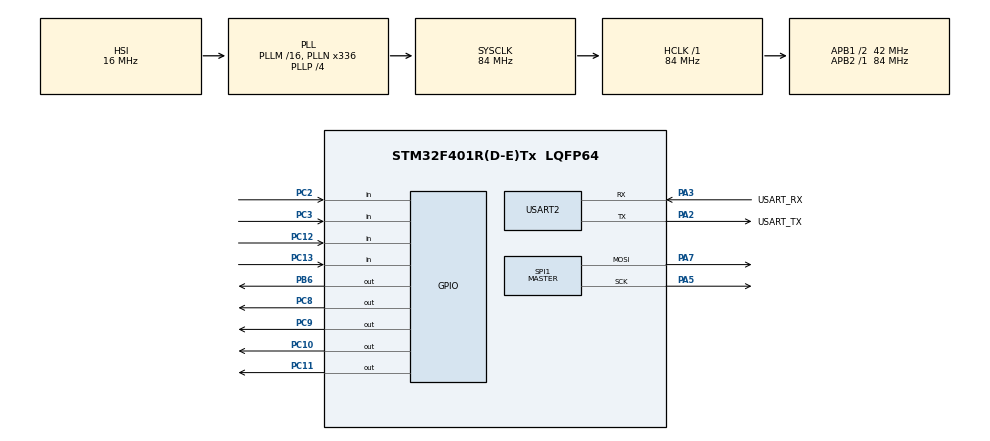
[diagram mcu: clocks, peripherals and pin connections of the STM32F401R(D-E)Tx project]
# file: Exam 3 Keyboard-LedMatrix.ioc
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Dma.Request0=SPI1_TX
Dma.SPI1_TX.0.Direction=DMA_MEMORY_TO_PERIPH
Dma.SPI1_TX.0.FIFOMode=DMA_FIFOMODE_DISABLE
Dma.SPI1_TX.0.Instance=DMA2_Stream3
Dma.SPI1_TX.0.MemDataAlignment=DMA_MDATAALIGN_BYTE
Dma.SPI1_TX.0.MemInc=DMA_MINC_ENABLE
Dma.SPI1_TX.0.Mode=DMA_NORMAL
Dma.SPI1_TX.0.PeriphDataAlignment=DMA_PDATAALIGN_BYTE
Dma.SPI1_TX.0.PeriphInc=DMA_PINC_DISABLE
Dma.SPI1_TX.0.Priority=DMA_PRIORITY_LOW
Mcu.Family=STM32F4
Mcu.Name=STM32F401R(D-E)Tx
Mcu.Package=LQFP64
NVIC.DMA2_Stream3_IRQn=true\:0\:0\:false\:false\:true\:false\:true\:true
NVIC.PriorityGroup=NVIC_PRIORITYGROUP_0
NVIC.SPI1_IRQn=true\:0\:0\:false\:false\:true\:true\:true\:true
NVIC.TIM3_IRQn=true\:0\:0\:false\:false\:true\:true\:true\:true
NVIC.USART2_IRQn=true\:0\:0\:false\:false\:true\:true\:true\:true
PA13.GPIO_Label=TMS
PA13.Mode=Serial_Wire
PA13.Signal=SYS_JTMS-SWDIO
PA14.GPIO_Label=TCK
PA14.Mode=Serial_Wire
PA14.Signal=SYS_JTCK-SWCLK
PA2.GPIO_Label=USART_TX
PA2.GPIO_Mode=GPIO_MODE_AF_PP
PA2.GPIO_PuPd=GPIO_NOPULL
PA2.GPIO_Speed=GPIO_SPEED_FREQ_LOW
PA2.Mode=Asynchronous
PA2.Signal=USART2_TX
PA3.GPIO_Label=USART_RX
PA3.GPIO_Mode=GPIO_MODE_AF_PP
PA3.GPIO_PuPd=GPIO_NOPULL
PA3.GPIO_Speed=GPIO_SPEED_FREQ_LOW
PA3.Mode=Asynchronous
PA3.Signal=USART2_RX
PA5.Mode=TX_Only_Simplex_Unidirect_Master
PA5.Signal=SPI1_SCK
PA7.Mode=TX_Only_Simplex_Unidirect_Master
PA7.Signal=SPI1_MOSI
PB3.GPIO_Label=SWO
PB3.Signal=SYS_JTDO-SWO
PB6.Signal=GPIO_Output
PC10.Signal=GPIO_Output
PC11.Signal=GPIO_Output
PC12.Signal=GPIO_Input
PC13-ANTI_TAMP.Signal=GPIO_Input
PC14-OSC32_IN.Mode=LSE-External-Oscillator
PC14-OSC32_IN.Signal=RCC_OSC32_IN
PC15-OSC32_OUT.Mode=LSE-External-Oscillator
PC15-OSC32_OUT.Signal=RCC_OSC32_OUT
PC2.Signal=GPIO_Input
PC3.Signal=GPIO_Input
PC8.Signal=GPIO_Output
PC9.Signal=GPIO_Output
PH0\ -\ OSC_IN.Mode=HSE-External-Clock-Source
PH0\ -\ OSC_IN.Signal=RCC_OSC_IN
PH1\ -\ OSC_OUT.Mode=HSE-External-Clock-Source
PH1\ -\ OSC_OUT.Signal=RCC_OSC_OUT
ProjectManager.HeapSize=0x200
ProjectManager.StackSize=0x400
ProjectManager.TargetToolchain=STM32CubeIDE
RCC.48MHZClocksFreq_Value=48000000
RCC.AHBFreq_Value=84000000
RCC.APB1CLKDivider=RCC_HCLK_DIV2
RCC.APB1Freq_Value=42000000
RCC.APB1TimFreq_Value=84000000
RCC.APB2Freq_Value=84000000
RCC.APB2TimFreq_Value=84000000
RCC.CortexFreq_Value=84000000
RCC.HCLKFreq_Value=84000000
RCC.HSE_VALUE=8000000
RCC.HSI_VALUE=16000000
RCC.PLLN=336
RCC.PLLP=RCC_PLLP_DIV4
RCC.PLLQ=7
RCC.SYSCLKFreq_VALUE=84000000
RCC.SYSCLKSource=RCC_SYSCLKSOURCE_PLLCLK
RCC.VCOOutputFreq_Value=336000000
SPI1.BaudRatePrescaler=SPI_BAUDRATEPRESCALER_4
SPI1.Direction=SPI_DIRECTION_2LINES
SPI1.Mode=SPI_MODE_MASTER
SPI1.VirtualType=VM_MASTER
TIM3.Period=40-1
TIM3.Prescaler=8400-1
USART2.VirtualMode=VM_ASYNC
VP_TIM3_VS_ClockSourceINT.Mode=Internal
board=NUCLEO-F401RE

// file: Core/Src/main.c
/* USER CODE BEGIN Header */
/**
  ******************************************************************************
  * @file           : main.c
  * @brief          : Main program body
  ******************************************************************************
  * @attention
  *
  * Copyright (c) 2024 STMicroelectronics.
  * All rights reserved.
  *
  * This software is licensed under terms that can be found in the LICENSE file
  * in the root directory of this software component.
  * If no LICENSE file comes with this software, it is provided AS-IS.
  *
  ******************************************************************************
  */
/* USER CODE END Header */
#include "main.h"

/* USER CODE BEGIN Includes */
#include <math.h>
/* USER CODE END Includes */

/* USER CODE BEGIN PD */
char aux_str[1024];
#define PRINT(s,...) \
		snprintf(aux_str, 1020, s, ##__VA_ARGS__ ); \
		HAL_UART_Transmit(&huart2, (uint8_t*)aux_str, strlen(aux_str), 100);

#define N_COLS 4
#define N_ROWS 4
#define MAT_PIN GPIOB,GPIO_PIN_6
/* USER CODE END PD */

SPI_HandleTypeDef hspi1;
DMA_HandleTypeDef hdma_spi1_tx;

TIM_HandleTypeDef htim3;

UART_HandleTypeDef huart2;

/* USER CODE BEGIN PV */
//defined pins for output and input in order of correct activation
uint16_t k_input[] = { GPIO_PIN_3, GPIO_PIN_2, GPIO_PIN_13, GPIO_PIN_12 };
uint16_t k_output[] = { GPIO_PIN_8, GPIO_PIN_9, GPIO_PIN_10, GPIO_PIN_11 };
/* USER CODE END PV */

void SystemClock_Config(void);
static void MX_GPIO_Init(void);
static void MX_DMA_Init(void);
static void MX_USART2_UART_Init(void);
static void MX_SPI1_Init(void);
static void MX_TIM3_Init(void);

/* USER CODE BEGIN 0 */
void HAL_TIM_PeriodElapsedCallback(TIM_HandleTypeDef *htim) {
	if (htim == &htim3) {
		static int col = 0; //index for column

		uint8_t leds[2] = {0, pow(2, 4-col)};
		for (int i = 0; i < N_ROWS; i++) {
			int on = !HAL_GPIO_ReadPin(GPIOC, k_input[i]);

			if(on){
				PRINT("Input %d,%d\r\n", i, col);
				leds[0] += pow(2, i);
			}

		}

		HAL_SPI_Transmit_DMA(&hspi1, leds, 2);

		HAL_SPI_Transmit(&hspix, pData, Size, Timeout)
		HAL_SPI_Transmit_DMA(&hspix, pData, Size)
		HAL_GPIO_WritePin(GPIOC, k_output[col], 0);
		col = (col+1) % N_COLS;
		HAL_GPIO_WritePin(GPIOC, k_output[col], 1);
	}
}

void HAL_SPI_TxCpltCallback(SPI_HandleTypeDef* hspi){
	HAL_GPIO_TogglePin(MAT_PIN);
	HAL_GPIO_TogglePin(MAT_PIN);
}
/* USER CODE END 0 */

int main(void)
{

  /* MCU Configuration--------------------------------------------------------*/

  /* Reset of all peripherals, Initializes the Flash interface and the Systick. */
  HAL_Init();

  /* Configure the system clock */
  SystemClock_Config();

  /* Initialize all configured peripherals */
  MX_GPIO_Init();
  MX_DMA_Init();
  MX_USART2_UART_Init();
  MX_SPI1_Init();
  MX_TIM3_Init();
  /* USER CODE BEGIN 2 */
  HAL_TIM_Base_Start_IT(&htim3);
  /* USER CODE END 2 */

  /* Infinite loop */
  while (1)
  {

  }
}

void SystemClock_Config(void)
{
  RCC_OscInitTypeDef RCC_OscInitStruct = {0};
  RCC_ClkInitTypeDef RCC_ClkInitStruct = {0};

  /** Configure the main internal regulator output voltage
  */
  __HAL_RCC_PWR_CLK_ENABLE();
  __HAL_PWR_VOLTAGESCALING_CONFIG(PWR_REGULATOR_VOLTAGE_SCALE2);

  /** Initializes the RCC Oscillators according to the specified parameters
  * in the RCC_OscInitTypeDef structure.
  */
  RCC_OscInitStruct.OscillatorType = RCC_OSCILLATORTYPE_HSI;
  RCC_OscInitStruct.HSIState = RCC_HSI_ON;
  RCC_OscInitStruct.HSICalibrationValue = RCC_HSICALIBRATION_DEFAULT;
  RCC_OscInitStruct.PLL.PLLState = RCC_PLL_ON;
  RCC_OscInitStruct.PLL.PLLSource = RCC_PLLSOURCE_HSI;
  RCC_OscInitStruct.PLL.PLLM = 16;
  RCC_OscInitStruct.PLL.PLLN = 336;
  RCC_OscInitStruct.PLL.PLLP = RCC_PLLP_DIV4;
  RCC_OscInitStruct.PLL.PLLQ = 7;
  if (HAL_RCC_OscConfig(&RCC_OscInitStruct) != HAL_OK)
  {
    Error_Handler();
  }

  /** Initializes the CPU, AHB and APB buses clocks
  */
  RCC_ClkInitStruct.ClockType = RCC_CLOCKTYPE_HCLK|RCC_CLOCKTYPE_SYSCLK
                              |RCC_CLOCKTYPE_PCLK1|RCC_CLOCKTYPE_PCLK2;
  RCC_ClkInitStruct.SYSCLKSource = RCC_SYSCLKSOURCE_PLLCLK;
  RCC_ClkInitStruct.AHBCLKDivider = RCC_SYSCLK_DIV1;
  RCC_ClkInitStruct.APB1CLKDivider = RCC_HCLK_DIV2;
  RCC_ClkInitStruct.APB2CLKDivider = RCC_HCLK_DIV1;

  if (HAL_RCC_ClockConfig(&RCC_ClkInitStruct, FLASH_LATENCY_2) != HAL_OK)
  {
    Error_Handler();
  }
}

static void MX_SPI1_Init(void)
{

  /* SPI1 parameter configuration*/
  hspi1.Instance = SPI1;
  hspi1.Init.Mode = SPI_MODE_MASTER;
  hspi1.Init.Direction = SPI_DIRECTION_2LINES;
  hspi1.Init.DataSize = SPI_DATASIZE_8BIT;
  hspi1.Init.CLKPolarity = SPI_POLARITY_LOW;
  hspi1.Init.CLKPhase = SPI_PHASE_1EDGE;
  hspi1.Init.NSS = SPI_NSS_SOFT;
  hspi1.Init.BaudRatePrescaler = SPI_BAUDRATEPRESCALER_4;
  hspi1.Init.FirstBit = SPI_FIRSTBIT_MSB;
  hspi1.Init.TIMode = SPI_TIMODE_DISABLE;
  hspi1.Init.CRCCalculation = SPI_CRCCALCULATION_DISABLE;
  hspi1.Init.CRCPolynomial = 10;
  if (HAL_SPI_Init(&hspi1) != HAL_OK)
  {
    Error_Handler();
  }

}

static void MX_TIM3_Init(void)
{

  TIM_ClockConfigTypeDef sClockSourceConfig = {0};
  TIM_MasterConfigTypeDef sMasterConfig = {0};

  htim3.Instance = TIM3;
  htim3.Init.Prescaler = 8400-1;
  htim3.Init.CounterMode = TIM_COUNTERMODE_UP;
  htim3.Init.Period = 40-1;
  htim3.Init.ClockDivision = TIM_CLOCKDIVISION_DIV1;
  htim3.Init.AutoReloadPreload = TIM_AUTORELOAD_PRELOAD_DISABLE;
  if (HAL_TIM_Base_Init(&htim3) != HAL_OK)
  {
    Error_Handler();
  }
  sClockSourceConfig.ClockSource = TIM_CLOCKSOURCE_INTERNAL;
  if (HAL_TIM_ConfigClockSource(&htim3, &sClockSourceConfig) != HAL_OK)
  {
    Error_Handler();
  }
  sMasterConfig.MasterOutputTrigger = TIM_TRGO_RESET;
  sMasterConfig.MasterSlaveMode = TIM_MASTERSLAVEMODE_DISABLE;
  if (HAL_TIMEx_MasterConfigSynchronization(&htim3, &sMasterConfig) != HAL_OK)
  {
    Error_Handler();
  }

}

static void MX_USART2_UART_Init(void)
{

  huart2.Instance = USART2;
  huart2.Init.BaudRate = 115200;
  huart2.Init.WordLength = UART_WORDLENGTH_8B;
  huart2.Init.StopBits = UART_STOPBITS_1;
  huart2.Init.Parity = UART_PARITY_NONE;
  huart2.Init.Mode = UART_MODE_TX_RX;
  huart2.Init.HwFlowCtl = UART_HWCONTROL_NONE;
  huart2.Init.OverSampling = UART_OVERSAMPLING_16;
  if (HAL_UART_Init(&huart2) != HAL_OK)
  {
    Error_Handler();
  }

}

static void MX_DMA_Init(void)
{

  /* DMA controller clock enable */
  __HAL_RCC_DMA2_CLK_ENABLE();

  /* DMA interrupt init */
  /* DMA2_Stream3_IRQn interrupt configuration */
  HAL_NVIC_SetPriority(DMA2_Stream3_IRQn, 0, 0);
  HAL_NVIC_EnableIRQ(DMA2_Stream3_IRQn);

}

static void MX_GPIO_Init(void)
{
  GPIO_InitTypeDef GPIO_InitStruct = {0};

  /* GPIO Ports Clock Enable */
  __HAL_RCC_GPIOC_CLK_ENABLE();
  __HAL_RCC_GPIOH_CLK_ENABLE();
  __HAL_RCC_GPIOA_CLK_ENABLE();
  __HAL_RCC_GPIOB_CLK_ENABLE();

  /*Configure GPIO pin Output Level */
  HAL_GPIO_WritePin(GPIOC, GPIO_PIN_8|GPIO_PIN_9|GPIO_PIN_10|GPIO_PIN_11, GPIO_PIN_RESET);

  /*Configure GPIO pin Output Level */
  HAL_GPIO_WritePin(GPIOB, GPIO_PIN_6, GPIO_PIN_RESET);

  /*Configure GPIO pins : PC13 PC2 PC3 PC12 */
  GPIO_InitStruct.Pin = GPIO_PIN_13|GPIO_PIN_2|GPIO_PIN_3|GPIO_PIN_12;
  GPIO_InitStruct.Mode = GPIO_MODE_INPUT;
  GPIO_InitStruct.Pull = GPIO_NOPULL;
  HAL_GPIO_Init(GPIOC, &GPIO_InitStruct);

  /*Configure GPIO pins : PC8 PC9 PC10 PC11 */
  GPIO_InitStruct.Pin = GPIO_PIN_8|GPIO_PIN_9|GPIO_PIN_10|GPIO_PIN_11;
  GPIO_InitStruct.Mode = GPIO_MODE_OUTPUT_PP;
  GPIO_InitStruct.Pull = GPIO_NOPULL;
  GPIO_InitStruct.Speed = GPIO_SPEED_FREQ_LOW;
  HAL_GPIO_Init(GPIOC, &GPIO_InitStruct);

  /*Configure GPIO pin : PB6 */
  GPIO_InitStruct.Pin = GPIO_PIN_6;
  GPIO_InitStruct.Mode = GPIO_MODE_OUTPUT_PP;
  GPIO_InitStruct.Pull = GPIO_NOPULL;
  GPIO_InitStruct.Speed = GPIO_SPEED_FREQ_LOW;
  HAL_GPIO_Init(GPIOB, &GPIO_InitStruct);

}

void Error_Handler(void)
{
  __disable_irq();
  while (1)
  {
  }
}
